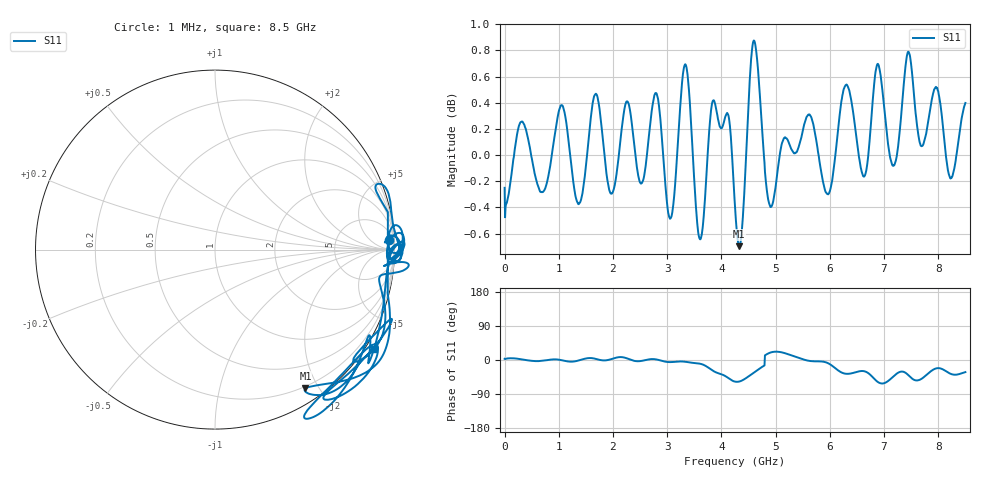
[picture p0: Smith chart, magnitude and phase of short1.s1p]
# Hz S RI R 50
! CMT, S5085, 16077402, 21.3.2/1
! Date: 11/17/2021 5:12:10 PM
! Data: Format (Calibration Info)
! Freq	S11:Re/Im(--)
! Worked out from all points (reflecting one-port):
!   1001 points, 1 MHz to 8.5 GHz, reference 50 ohm
!   lowest |S11| = -0.7 dB at 4.327 GHz (marker M1), VSWR 24.98, Z = 8.77 - j91.6 ohm
!   phase of S11 starts at 3 deg and turns -35 deg over the sweep
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1000000  0.9702 0.0531
1.063375e9  1.045 -0.0159
1.581814e9  1.026 0.0932
1.853782e9  0.9945 -0.0182
2.12575e9  0.9988 0.1344
2.431714e9  0.9911 -0.054
3.188125e9  1.001 -0.0727
3.613075e9  0.9144 -0.1624
3.817051e9  0.9388 -0.4552
4.2505e9  0.5198 -0.8018
4.326991e9  0.5042 -0.7732
4.547965e9  0.8514 -0.6778
4.751941e9  0.9715 -0.3168
4.870927e9  0.9141 0.293
5.074903e9  0.9319 0.3618
5.312875e9  0.9848 0.1933
5.924803e9  0.9626 -0.1009
6.222268e9  0.8779 -0.5777
6.37525e9  0.8547 -0.6176
6.63022e9  0.854 -0.4833
6.868192e9  0.602 -0.8995
6.978679e9  0.4962 -0.93
7.284643e9  0.8658 -0.5374
7.437625e9  0.8553 -0.6833
7.616104e9  0.6037 -0.8264
7.981561e9  0.9863 -0.3902
8.270527e9  0.7714 -0.61
8.5e9  0.8884 -0.5539
